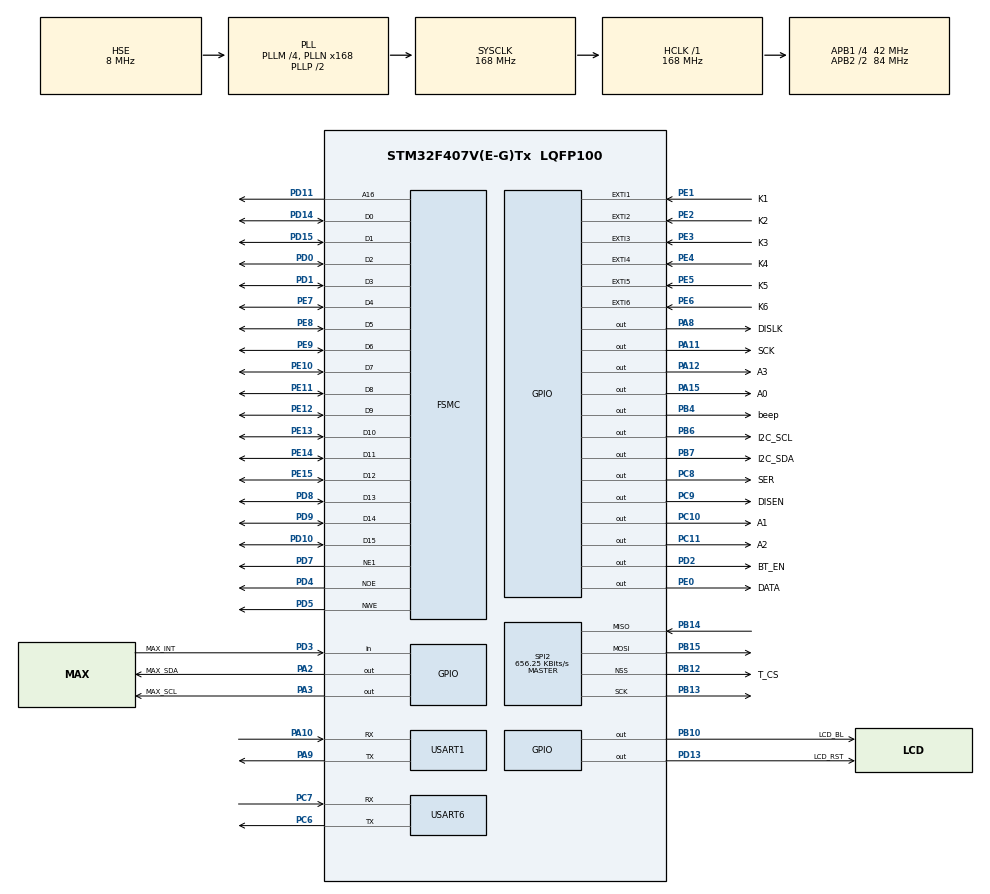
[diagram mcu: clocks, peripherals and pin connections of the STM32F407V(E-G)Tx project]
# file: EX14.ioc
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Dma.Request0=USART6_RX
Dma.Request1=USART6_TX
Dma.USART6_RX.0.Direction=DMA_PERIPH_TO_MEMORY
Dma.USART6_RX.0.FIFOMode=DMA_FIFOMODE_DISABLE
Dma.USART6_RX.0.Instance=DMA2_Stream1
Dma.USART6_RX.0.MemDataAlignment=DMA_MDATAALIGN_BYTE
Dma.USART6_RX.0.MemInc=DMA_MINC_ENABLE
Dma.USART6_RX.0.Mode=DMA_NORMAL
Dma.USART6_RX.0.PeriphDataAlignment=DMA_PDATAALIGN_BYTE
Dma.USART6_RX.0.PeriphInc=DMA_PINC_DISABLE
Dma.USART6_RX.0.Priority=DMA_PRIORITY_LOW
Dma.USART6_TX.1.Direction=DMA_MEMORY_TO_PERIPH
Dma.USART6_TX.1.FIFOMode=DMA_FIFOMODE_DISABLE
Dma.USART6_TX.1.Instance=DMA2_Stream6
Dma.USART6_TX.1.MemDataAlignment=DMA_MDATAALIGN_BYTE
Dma.USART6_TX.1.MemInc=DMA_MINC_ENABLE
Dma.USART6_TX.1.Mode=DMA_NORMAL
Dma.USART6_TX.1.PeriphDataAlignment=DMA_PDATAALIGN_BYTE
Dma.USART6_TX.1.PeriphInc=DMA_PINC_DISABLE
Dma.USART6_TX.1.Priority=DMA_PRIORITY_LOW
FREERTOS.Queues01=QueueUart1,8,512,1,Dynamic,NULL,NULL;QueueUart2,8,512,1,Dynamic,NULL,NULL
FREERTOS.Tasks01=TaskRTC,24,256,StartTaskRTC,Default,NULL,Dynamic,NULL,NULL;myTaskKey,24,256,StartTaskKey,Default,NULL,Dynamic,NULL,NULL;myTaskGUI,8,1024,StartTaskGUI,Default,NULL,Dynamic,NULL,NULL;defaultTask,8,512,StartdefaultTask,Default,NULL,Dynamic,NULL,NULL;myTaskUart,8,512,StartTaskUart,Default,NULL,Dynamic,NULL,NULL;myTaskWea,8,256,StartTaskWea,Default,NULL,Dynamic,NULL,NULL
FREERTOS.configTOTAL_HEAP_SIZE=32768
FSMC.AddressSetupTime1=2
FSMC.BusTurnAroundDuration1=2
FSMC.DataSetupTime1=2
Mcu.Family=STM32F4
Mcu.Name=STM32F407V(E-G)Tx
Mcu.Package=LQFP100
NVIC.DMA2_Stream1_IRQn=true\:5\:0\:false\:false\:true\:true\:false\:true\:true
NVIC.DMA2_Stream6_IRQn=true\:5\:0\:false\:false\:true\:true\:false\:true\:true
NVIC.EXTI1_IRQn=true\:5\:0\:false\:false\:true\:true\:true\:true\:true
NVIC.EXTI2_IRQn=true\:5\:0\:false\:false\:true\:true\:true\:true\:true
NVIC.EXTI3_IRQn=true\:5\:0\:false\:false\:true\:true\:true\:true\:true
NVIC.EXTI4_IRQn=true\:5\:0\:false\:false\:true\:true\:true\:true\:true
NVIC.EXTI9_5_IRQn=true\:5\:0\:false\:false\:true\:true\:true\:true\:true
NVIC.PriorityGroup=NVIC_PRIORITYGROUP_4
NVIC.RTC_Alarm_IRQn=true\:5\:0\:false\:false\:true\:true\:true\:true\:true
NVIC.RTC_WKUP_IRQn=true\:5\:0\:false\:false\:true\:true\:true\:true\:true
NVIC.TIM4_IRQn=true\:5\:0\:false\:false\:true\:true\:true\:true\:true
NVIC.TIM7_IRQn=true\:15\:0\:false\:false\:true\:false\:false\:true\:true
NVIC.TimeBase=TIM7_IRQn
NVIC.TimeBaseIP=TIM7
NVIC.USART6_IRQn=true\:5\:0\:false\:false\:true\:true\:true\:true\:true
PA10.Mode=Asynchronous
PA10.Signal=USART1_RX
PA11.GPIO_Label=SCK
PA11.Signal=GPIO_Output
PA12.GPIO_Label=A3
PA12.Signal=GPIO_Output
PA13.Mode=Serial_Wire
PA13.Signal=SYS_JTMS-SWDIO
PA14.Mode=Serial_Wire
PA14.Signal=SYS_JTCK-SWCLK
PA15.GPIO_Label=A0
PA15.Signal=GPIO_Output
PA2.GPIO_Label=MAX_SDA
PA2.Signal=GPIO_Output
PA3.GPIO_Label=MAX_SCL
PA3.Signal=GPIO_Output
PA8.GPIO_Label=DISLK
PA8.Signal=GPIO_Output
PA9.Mode=Asynchronous
PA9.Signal=USART1_TX
PB10.GPIO_Label=LCD_BL
PB10.Signal=GPIO_Output
PB12.GPIO_Label=T_CS
PB12.Mode=NSS_Signal_Hard_Output
PB12.Signal=SPI2_NSS
PB13.Mode=Full_Duplex_Master
PB13.Signal=SPI2_SCK
PB14.Mode=Full_Duplex_Master
PB14.Signal=SPI2_MISO
PB15.Mode=Full_Duplex_Master
PB15.Signal=SPI2_MOSI
PB4.GPIO_Label=beep
PB4.GPIO_ModeDefaultOutputPP=GPIO_MODE_OUTPUT_PP
PB4.GPIO_PuPd=GPIO_NOPULL
PB4.GPIO_Speed=GPIO_SPEED_FREQ_LOW
PB4.PinState=GPIO_PIN_SET
PB4.Signal=GPIO_Output
PB6.GPIO_Label=I2C_SCL
PB6.GPIO_ModeDefaultOutputPP=GPIO_MODE_OUTPUT_OD
PB6.Signal=GPIO_Output
PB7.GPIO_Label=I2C_SDA
PB7.GPIO_ModeDefaultOutputPP=GPIO_MODE_OUTPUT_OD
PB7.Signal=GPIO_Output
PC10.GPIO_Label=A1
PC10.Signal=GPIO_Output
PC11.GPIO_Label=A2
PC11.Signal=GPIO_Output
PC14-OSC32_IN.Mode=LSE-External-Oscillator
PC14-OSC32_IN.Signal=RCC_OSC32_IN
PC15-OSC32_OUT.Mode=LSE-External-Oscillator
PC15-OSC32_OUT.Signal=RCC_OSC32_OUT
PC6.Mode=Asynchronous
PC6.Signal=USART6_TX
PC7.Mode=Asynchronous
PC7.Signal=USART6_RX
PC8.GPIO_Label=SER
PC8.Signal=GPIO_Output
PC9.GPIO_Label=DISEN
PC9.Signal=GPIO_Output
PD0.Mode=16b-d1
PD0.Signal=FSMC_D2
PD1.Mode=16b-d1
PD1.Signal=FSMC_D3
PD10.Mode=16b-d1
PD10.Signal=FSMC_D15
PD11.Mode=A16_1
PD11.Signal=FSMC_A16
PD13.GPIO_Label=LCD_RST
PD13.Signal=GPIO_Output
PD14.Mode=16b-d1
PD14.Signal=FSMC_D0
PD15.Mode=16b-d1
PD15.Signal=FSMC_D1
PD2.GPIO_Label=BT_EN
PD2.Signal=GPIO_Output
PD3.GPIO_Label=MAX_INT
PD3.Signal=GPIO_Input
PD4.Mode=Lcd1
PD4.Signal=FSMC_NOE
PD5.Mode=Lcd1
PD5.Signal=FSMC_NWE
PD7.Mode=NorPsramChipSelect1_1
PD7.Signal=FSMC_NE1
PD8.Mode=16b-d1
PD8.Signal=FSMC_D13
PD9.Mode=16b-d1
PD9.Signal=FSMC_D14
PE0.GPIO_Label=DATA
PE0.Signal=GPIO_Output
PE1.GPIO_Label=K1
PE1.GPIO_ModeDefaultEXTI=GPIO_MODE_IT_FALLING
PE1.GPIO_PuPd=GPIO_PULLUP
PE1.Signal=GPXTI1
PE10.Mode=16b-d1
PE10.Signal=FSMC_D7
PE11.Mode=16b-d1
PE11.Signal=FSMC_D8
PE12.Mode=16b-d1
PE12.Signal=FSMC_D9
PE13.Mode=16b-d1
PE13.Signal=FSMC_D10
PE14.Mode=16b-d1
PE14.Signal=FSMC_D11
PE15.Mode=16b-d1
PE15.Signal=FSMC_D12
PE2.GPIO_Label=K2
PE2.GPIO_ModeDefaultEXTI=GPIO_MODE_IT_FALLING
PE2.GPIO_PuPd=GPIO_PULLUP
PE2.Signal=GPXTI2
PE3.GPIO_Label=K3
PE3.GPIO_ModeDefaultEXTI=GPIO_MODE_IT_FALLING
PE3.GPIO_PuPd=GPIO_PULLUP
PE3.Signal=GPXTI3
PE4.GPIO_Label=K4
PE4.GPIO_ModeDefaultEXTI=GPIO_MODE_IT_FALLING
PE4.GPIO_PuPd=GPIO_PULLUP
PE4.Signal=GPXTI4
PE5.GPIO_Label=K5
PE5.GPIO_ModeDefaultEXTI=GPIO_MODE_IT_FALLING
PE5.GPIO_PuPd=GPIO_PULLDOWN
PE5.Signal=GPXTI5
PE6.GPIO_Label=K6
PE6.GPIO_ModeDefaultEXTI=GPIO_MODE_IT_FALLING
PE6.GPIO_PuPd=GPIO_PULLDOWN
PE6.Signal=GPXTI6
PE7.Mode=16b-d1
PE7.Signal=FSMC_D4
PE8.Mode=16b-d1
PE8.Signal=FSMC_D5
PE9.Mode=16b-d1
PE9.Signal=FSMC_D6
PH0-OSC_IN.Mode=HSE-External-Oscillator
PH0-OSC_IN.Signal=RCC_OSC_IN
PH1-OSC_OUT.Mode=HSE-External-Oscillator
PH1-OSC_OUT.Signal=RCC_OSC_OUT
ProjectManager.HeapSize=0x2000
ProjectManager.StackSize=0x4000
ProjectManager.TargetToolchain=MDK-ARM V5.32
RCC.48MHZClocksFreq_Value=84000000
RCC.AHBFreq_Value=168000000
RCC.APB1CLKDivider=RCC_HCLK_DIV4
RCC.APB1Freq_Value=42000000
RCC.APB1TimFreq_Value=84000000
RCC.APB2CLKDivider=RCC_HCLK_DIV2
RCC.APB2Freq_Value=84000000
RCC.APB2TimFreq_Value=168000000
RCC.CortexFreq_Value=168000000
RCC.HCLKFreq_Value=168000000
RCC.HSE_VALUE=8000000
RCC.HSI_VALUE=16000000
RCC.PLLM=4
RCC.PLLN=168
RCC.PLLSourceVirtual=RCC_PLLSOURCE_HSE
RCC.RCC_RTC_Clock_Source=RCC_RTCCLKSOURCE_LSE
RCC.RCC_RTC_Clock_SourceVirtual=RCC_RTCCLKSOURCE_LSE
RCC.SYSCLKFreq_VALUE=168000000
RCC.SYSCLKSource=RCC_SYSCLKSOURCE_PLLCLK
RCC.VCOOutputFreq_Value=336000000
RTC.Alarm=RTC_ALARM_A
SPI2.BaudRatePrescaler=SPI_BAUDRATEPRESCALER_64
SPI2.CalculateBaudRate=656.25 KBits/s
SPI2.Direction=SPI_DIRECTION_2LINES
SPI2.Mode=SPI_MODE_MASTER
SPI2.VirtualNSS=VM_NSSHARD
SPI2.VirtualType=VM_MASTER
TIM4.AutoReloadPreload=TIM_AUTORELOAD_PRELOAD_ENABLE
TIM4.Period=100-1
TIM4.Prescaler=84-1
USART1.VirtualMode=VM_ASYNC
USART6.VirtualMode=VM_ASYNC
VP_CRC_VS_CRC.Mode=CRC_Activate
VP_FREERTOS_VS_CMSIS_V2.Mode=CMSIS_V2
VP_RTC_VS_RTC_Activate.Mode=RTC_Enabled
VP_RTC_VS_RTC_Alarm_A_Intern.Mode=Alarm A
VP_RTC_VS_RTC_Calendar.Mode=RTC_Calendar
VP_RTC_VS_RTC_WakeUp_intern.Mode=WakeUp
VP_SYS_VS_tim7.Mode=TIM7
VP_TIM4_VS_ClockSourceINT.Mode=Internal
board=custom

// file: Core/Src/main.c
/* USER CODE BEGIN Header */
/**
  ******************************************************************************
  * @file           : main.c
  * @brief          : Main program body
  ******************************************************************************
  * @attention
  *
  * <h2><center>&copy; Copyright (c) 2021 STMicroelectronics.
  * All rights reserved.</center></h2>
  *
  * This software component is licensed by ST under BSD 3-Clause license,
  * the "License"; You may not use this file except in compliance with the
  * License. You may obtain a copy of the License at:
  *                        opensource.org/licenses/BSD-3-Clause
  *
  ******************************************************************************
  */
/* USER CODE END Header */
#include "main.h"
#include "cmsis_os.h"
#include "crc.h"
#include "dma.h"
#include "rtc.h"
#include "spi.h"
#include "tim.h"
#include "usart.h"
#include "gpio.h"
#include "fsmc.h"

/* USER CODE BEGIN PV */
extern uint32_t g_beeptick;
/* USER CODE END PV */

void SystemClock_Config(void);
void MX_FREERTOS_Init(void);

int main(void)
{

  /* MCU Configuration--------------------------------------------------------*/

  /* Reset of all peripherals, Initializes the Flash interface and the Systick. */
  HAL_Init();

  /* Configure the system clock */
  SystemClock_Config();

  /* Initialize all configured peripherals */
  MX_GPIO_Init();
  MX_TIM4_Init();
  MX_RTC_Init();
  MX_CRC_Init();
  MX_FSMC_Init();
  MX_SPI2_Init();
  MX_DMA_Init();
  MX_USART1_UART_Init();
  MX_USART6_UART_Init();

  /* Init scheduler */
  osKernelInitialize();  /* Call init function for freertos objects (in freertos.c) */
  MX_FREERTOS_Init();

  /* Start scheduler */
  osKernelStart();

  /* We should never get here as control is now taken by the scheduler */
  /* Infinite loop */
  while (1)
  {

  }
}

void SystemClock_Config(void)
{
  RCC_OscInitTypeDef RCC_OscInitStruct = {0};
  RCC_ClkInitTypeDef RCC_ClkInitStruct = {0};

  /** Configure the main internal regulator output voltage
  */
  __HAL_RCC_PWR_CLK_ENABLE();
  __HAL_PWR_VOLTAGESCALING_CONFIG(PWR_REGULATOR_VOLTAGE_SCALE1);

  /** Initializes the RCC Oscillators according to the specified parameters
  * in the RCC_OscInitTypeDef structure.
  */
  RCC_OscInitStruct.OscillatorType = RCC_OSCILLATORTYPE_HSE|RCC_OSCILLATORTYPE_LSE;
  RCC_OscInitStruct.HSEState = RCC_HSE_ON;
  RCC_OscInitStruct.LSEState = RCC_LSE_ON;
  RCC_OscInitStruct.PLL.PLLState = RCC_PLL_ON;
  RCC_OscInitStruct.PLL.PLLSource = RCC_PLLSOURCE_HSE;
  RCC_OscInitStruct.PLL.PLLM = 4;
  RCC_OscInitStruct.PLL.PLLN = 168;
  RCC_OscInitStruct.PLL.PLLP = RCC_PLLP_DIV2;
  RCC_OscInitStruct.PLL.PLLQ = 4;
  if (HAL_RCC_OscConfig(&RCC_OscInitStruct) != HAL_OK)
  {
    Error_Handler();
  }

  /** Initializes the CPU, AHB and APB buses clocks
  */
  RCC_ClkInitStruct.ClockType = RCC_CLOCKTYPE_HCLK|RCC_CLOCKTYPE_SYSCLK
                              |RCC_CLOCKTYPE_PCLK1|RCC_CLOCKTYPE_PCLK2;
  RCC_ClkInitStruct.SYSCLKSource = RCC_SYSCLKSOURCE_PLLCLK;
  RCC_ClkInitStruct.AHBCLKDivider = RCC_SYSCLK_DIV1;
  RCC_ClkInitStruct.APB1CLKDivider = RCC_HCLK_DIV4;
  RCC_ClkInitStruct.APB2CLKDivider = RCC_HCLK_DIV2;

  if (HAL_RCC_ClockConfig(&RCC_ClkInitStruct, FLASH_LATENCY_5) != HAL_OK)
  {
    Error_Handler();
  }
}

void HAL_TIM_PeriodElapsedCallback(TIM_HandleTypeDef *htim)
{
  if (htim->Instance == TIM7) {
    HAL_IncTick();
  }
  /* USER CODE BEGIN Callback 1 */
  if (htim->Instance == TIM4) {
		if(osKernelGetTickCount() <= g_beeptick)
			HAL_GPIO_TogglePin(beep_GPIO_Port,beep_Pin);
		else
			HAL_GPIO_WritePin(beep_GPIO_Port,beep_Pin,GPIO_PIN_RESET);
  }
  /* USER CODE END Callback 1 */
}

void Error_Handler(void)
{
  __disable_irq();
  while (1)
  {
  }
}

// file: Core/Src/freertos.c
/* USER CODE BEGIN Header */
/**
  ******************************************************************************
  * File Name          : freertos.c
  * Description        : Code for freertos applications
  ******************************************************************************
  * @attention
  *
  * <h2><center>&copy; Copyright (c) 2021 STMicroelectronics.
  * All rights reserved.</center></h2>
  *
  * This software component is licensed by ST under Ultimate Liberty license
  * SLA0044, the "License"; You may not use this file except in compliance with
  * the License. You may obtain a copy of the License at:
  *                             www.st.com/SLA0044
  *
  ******************************************************************************
  */
/* USER CODE END Header */

#include "FreeRTOS.h"
#include "task.h"
#include "main.h"
#include "cmsis_os.h"

/* USER CODE BEGIN Includes */
#include "gpio.h"
#include "usart.h"
#include <ctype.h>
#include "tim.h"
#include "rtc.h"
#include "GUI.h"
#include <stdio.h>
#include <stdlib.h>
#include <string.h>
#include "lcd_drv.h"
#include "touch.h"
#include "DIALOG.h"
#include "MPU6050.h"
#include "math.h"
#include "DS18B20.h"
#include "max30102.h"
/* USER CODE END Includes */

/* USER CODE BEGIN PD */
#define WIFI_NAME  "28-517"
#define WIFI_PSW   "shanxianglu123..!!"
#define GUI_CLOCK  1  //时钟显示界面
#define GUI_SHOW   2  //血氧心率显示界面
#define GUI_DATA   3  //数据同步界面
#define UP         1  //按键上键
#define DOWN       4  //按键下键
#define LEFT 	   2  //按键左键
#define RIGHT 	   3  //按键右键
#define SWITCH	   5  //按键切换键
#define FUNC 	   6  //按键功能键
/* USER CODE END PD */

/* USER CODE BEGIN Variables */

uint8_t rx1_buf[512];	// 串口1接收缓冲
uint8_t rx6_buf[512];	// 串口6接收缓冲
uint8_t weather=0;         // 0白天晴  1晚上晴 4多云 5白天晴间多云 6晚上晴间多云 7白天大部分多云 8晚上大部分多云
                           // 9阴 10阵雨  11雷阵雨 12雷阵雨伴有冰雹 13小雨 14中雨 15大雨 16暴雨 17大暴雨 18特大暴雨
													 // 19冻雨 20雨夹雪 21阵雪 22小雪 23中雪 24大雪 25暴雪 26浮尘 27扬沙 28沙尘暴 29强沙尘暴
													 // 30雾 31霾 32风 33大风 34飓风 35热带风暴 36龙卷风 37冷 38热 99未知
uint8_t temp_high = 0;
uint8_t temp_low = 0;

int cid = -1;			// 客户端ID号

uint32_t g_beeptick=0;
uint8_t wea_flag=0;
uint8_t tmp_flag=0;
uint8_t g_bset=0;
uint8_t g_bset_old=0;
uint8_t g_bsay=0;
uint8_t gui_idx=0;
uint8_t gui_idx_old=0;
uint8_t alarm_sec=0;
uint8_t alarm_min=0;
uint8_t alarm_hour=0;
uint8_t set_alarm=0;
uint8_t alarm_flag=0;
uint8_t weathernum=0;
uint8_t temperature=0;
uint8_t day=5;
uint8_t stop_flag=0;
uint32_t times=0;
uint8_t beep_flag=0;
uint8_t time_flag=0;
uint8_t first_connect=0;
uint16_t real_year = 0, real_month = 0, real_day = 0, real_hour = 0, real_minute = 0, real_second = 0;
uint16_t old_year = 0, old_mon = 0, old_day = 0, old_hour = 0, old_min = 0, old_sec = 0;
float real_temp = 0; //当前温度
float last_temp = 0; //上一次温度

//extern const GUI_FONT GUI_FontHZ_KaiTi_24;
extern const GUI_FONT GUI_FontHZ_KaiTi_24AA4;
extern GUI_CONST_STORAGE GUI_BITMAP bmhdulogo;
extern GUI_CONST_STORAGE GUI_BITMAP bmqingtian;    //0-3晴天
extern GUI_CONST_STORAGE GUI_BITMAP bmduoyun;      //4-8 多云
extern GUI_CONST_STORAGE GUI_BITMAP bmyintian;     //9阴天
extern GUI_CONST_STORAGE GUI_BITMAP bmzhenyu;      //10-12阵雨
extern GUI_CONST_STORAGE GUI_BITMAP bmyu;          //13-19雨
extern GUI_CONST_STORAGE GUI_BITMAP bmxue;         //20-25雪
extern GUI_CONST_STORAGE GUI_BITMAP bmwumai;       //30 31雾霾
extern GUI_CONST_STORAGE GUI_BITMAP bmweizhi;      // 未知
extern GUI_CONST_STORAGE GUI_BITMAP bmbk1; //背景
extern GUI_CONST_STORAGE GUI_BITMAP bmnaoling;
extern GUI_CONST_STORAGE GUI_BITMAP bmsmoke;
/* USER CODE END Variables */
/* Definitions for TaskRTC */
osThreadId_t TaskRTCHandle;
const osThreadAttr_t TaskRTC_attributes = {
  .name = "TaskRTC",
  .stack_size = 256 * 4,
  .priority = (osPriority_t) osPriorityNormal,
};
/* Definitions for myTaskKey */
osThreadId_t myTaskKeyHandle;
const osThreadAttr_t myTaskKey_attributes = {
  .name = "myTaskKey",
  .stack_size = 256 * 4,
  .priority = (osPriority_t) osPriorityNormal,
};
/* Definitions for myTaskGUI */
osThreadId_t myTaskGUIHandle;
const osThreadAttr_t myTaskGUI_attributes = {
  .name = "myTaskGUI",
  .stack_size = 1024 * 4,
  .priority = (osPriority_t) osPriorityLow,
};
/* Definitions for defaultTask */
osThreadId_t defaultTaskHandle;
const osThreadAttr_t defaultTask_attributes = {
  .name = "defaultTask",
  .stack_size = 512 * 4,
  .priority = (osPriority_t) osPriorityLow,
};
/* Definitions for myTaskUart */
osThreadId_t myTaskUartHandle;
const osThreadAttr_t myTaskUart_attributes = {
  .name = "myTaskUart",
  .stack_size = 512 * 4,
  .priority = (osPriority_t) osPriorityLow,
};
/* Definitions for myTaskWea */
osThreadId_t myTaskWeaHandle;
const osThreadAttr_t myTaskWea_attributes = {
  .name = "myTaskWea",
  .stack_size = 256 * 4,
  .priority = (osPriority_t) osPriorityLow,
};
/* Definitions for QueueUart1 */
osMessageQueueId_t QueueUart1Handle;
const osMessageQueueAttr_t QueueUart1_attributes = {
  .name = "QueueUart1"
};
/* Definitions for QueueUart2 */
osMessageQueueId_t QueueUart2Handle;
const osMessageQueueAttr_t QueueUart2_attributes = {
  .name = "QueueUart2"
};

/* USER CODE BEGIN FunctionPrototypes */
void Beep(uint8_t tune);
void SystemClock_Config(void);
void AnalyseWeather(void);
void EnterSleepMode(void);
void EnterStopMode(void);
void WeatherDisplay(void);
void pause(void);
void GetWeekDay(void);
uint8_t CheckIfLeapYear(uint16_t year);
void ShowWeekByCN(char *buf, uint8_t day);
void DrawLogo(void);
void DrawClock(void);
void DrawShow(void);
void DrawData(void);
void KeyDownClock(uint8_t key);
void KeyDownShow(uint8_t key);
void KeyDownData(uint8_t key);
void AnalyseTime(void);

void SendATCmd(char *cmd, int waitms)   // 发送AT指令给串口6
{
	if (NULL!=cmd)
	{
		HAL_UART_Transmit_DMA(&huart6,(uint8_t *)cmd,strlen(cmd));
		osDelay(waitms);  // 延时等待ESP01模块应答时间
	}
}

void SendESP01Str(char *str)     // 发送字符串给串口6
{
	if (NULL!=str)
		HAL_UART_Transmit_DMA(&huart6,(uint8_t *)str,strlen(str));
}
uint32_t HexStrToNum(char *str,int nLen)
{
	uint32_t num=0;
	int i;
	for(i=0;i<nLen;++i)
	{
		char ch=str[i];
		uint32_t ts=toupper(ch)-'0';
		if(ts>9)
			ts-=7;
		if(ts<=15)
			num=num*16+ts;
		else
			break;
	}
	return num;
}
/* USER CODE END FunctionPrototypes */

void StartTaskRTC(void *argument);
void StartTaskKey(void *argument);
void StartTaskGUI(void *argument);
void StartdefaultTask(void *argument);
void StartTaskUart(void *argument);
void StartTaskWea(void *argument);

void MX_FREERTOS_Init(void); /* (MISRA C 2004 rule 8.1) */

void MX_FREERTOS_Init(void) {

  /* Create the queue(s) */
  /* creation of QueueUart1 */
  QueueUart1Handle = osMessageQueueNew (8, 512, &QueueUart1_attributes);

  /* creation of QueueUart2 */
  QueueUart2Handle = osMessageQueueNew (8, 512, &QueueUart2_attributes);

  /* Create the thread(s) */
  /* creation of TaskRTC */
  TaskRTCHandle = osThreadNew(StartTaskRTC, NULL, &TaskRTC_attributes);

  /* creation of myTaskKey */
  myTaskKeyHandle = osThreadNew(StartTaskKey, NULL, &myTaskKey_attributes);

  /* creation of myTaskGUI */
  myTaskGUIHandle = osThreadNew(StartTaskGUI, NULL, &myTaskGUI_attributes);

  /* creation of defaultTask */
  defaultTaskHandle = osThreadNew(StartdefaultTask, NULL, &defaultTask_attributes);

  /* creation of myTaskUart */
  myTaskUartHandle = osThreadNew(StartTaskUart, NULL, &myTaskUart_attributes);

  /* creation of myTaskWea */
  myTaskWeaHandle = osThreadNew(StartTaskWea, NULL, &myTaskWea_attributes);

}

void StartTaskRTC(void *argument)
{
  /* USER CODE BEGIN StartTaskRTC */
  /* Infinite loop */

	for(;;)
	{

		if (!g_bset && (time_flag == 0 || time_flag == 2))
		ReadRTCDateTime();
		osDelay(500);
	}
  /* USER CODE END StartTaskRTC */
}

void StartTaskKey(void *argument)
{
  /* USER CODE BEGIN StartTaskKey */
  /* Infinite loop */
	for(;;)
	{
		uint8_t key = keyscan();
		if (key > 0)
		{
			while (keyscan())
			osDelay(1);
			switch(gui_idx)
			{
				case GUI_CLOCK:
					//时钟显示界面
					KeyDownClock(key);
					break;
				case GUI_SHOW:
					//血氧心率显示界面
					KeyDownShow(key);
					break;
				case GUI_DATA:
					//数据同步界面
					KeyDownData(key);
					break;
				default:
					//Logo显示
					break;
			}
		}
		osDelay(1);
	}
  /* USER CODE END StartTaskKey */
}

void StartTaskGUI(void *argument)
{
  /* USER CODE BEGIN StartTaskGUI */
  /* Infinite loop */
	osDelay(100);
	GUI_Init();
	ds18b20_init();
	for(;;)
	{
		GUI_Exec();
		TouchProcess();

		if (time_flag == 1)
		{
			SetRTCDate(real_year, real_month, real_day);
			SetRTCTime(real_hour, real_minute, real_second);
			printf("change!!!\n");

			time_flag = 2;
		}
		//获取星期几
		GetWeekDay();
		switch(gui_idx)
		{
			case GUI_CLOCK:
				//时钟显示界面
				DrawClock();
				break;
			case GUI_SHOW:
				//血氧心率显示界面
				DrawShow();
				break;
			case GUI_DATA:
				//数据同步界面
				DrawData();
				break;
			default:
				//Logo显示
				DrawLogo();
				break;
		}
		osDelay(100);
	}
  /* USER CODE END StartTaskGUI */
}

void StartdefaultTask(void *argument)
{
  /* USER CODE BEGIN StartdefaultTask */
  /* Infinite loop */
	osDelay(500);
	Beep(5);
	osDelay(200);
	SendATCmd("+++", 500);				// 退出透传模式
	SendATCmd("AT\r\n", 500);			// 测试ESP01模块是否存在
	SendATCmd("ATE0\r\n", 500);			// 关闭模块回显
	SendATCmd("AT+GMR\r\n", 500);		// 查看模块版本信息
	SendATCmd("AT+CWMODE=3\r\n", 500);	// 开启STA+AP模式
	SendATCmd("AT+CIPMUX=0\r\n", 500);	// 关闭多连接

	char str[200];
	char weather_web[] = "GET https://api.seniverse.com/v3/weather/daily.json?key=SU8mkZy6Bwvor3FMJ&location=hangzhou&language=en&unit=c&start=0&days=1\r\n";
	char time_web[] = "GET http://quan.suning.com/getSysTime.do\r\n";
	sprintf(str, "AT+CWJAP=\"%s\",\"%s\"\r\n", WIFI_NAME, WIFI_PSW);
	SendATCmd(str, 10000);	// 连接无线路由器或者手机热点，等待10秒
	// 连接时间服务器
	SendATCmd("AT+CIPSTART=\"TCP\",\"quan.suning.com\",80\r\n", 2000);
	SendATCmd("AT+CIPMODE=1\r\n", 500);	// 开启透传模式
	SendATCmd("AT+CIPSEND\r\n", 500);	// 开始透传
	SendATCmd(time_web, 3000);
	SendATCmd("+++", 500);				// 退出透传模式

	SendATCmd("AT+RST", 500);
	SendATCmd("AT\r\n", 500);			// 测试ESP01模块是否存在
	SendATCmd("ATE0\r\n", 500);			// 关闭模块回显
	SendATCmd("AT+GMR\r\n", 500);		// 查看模块版本信息
	SendATCmd("AT+CWMODE=3\r\n", 500);	// 开启STA+AP模式
	SendATCmd("AT+CIPMUX=0\r\n", 500);	// 关闭多连接

	sprintf(str, "AT+CWJAP=\"%s\",\"%s\"\r\n", WIFI_NAME, WIFI_PSW);
	SendATCmd(str, 10000);	// 连接无线路由器或者手机热点，等待10秒

	for(;;)
	{
		if (wea_flag != 3)
		{
			if (first_connect == 0)
			{
				// 连接OneNET的HTTP服务器
				SendATCmd("AT+CIPSTART=\"TCP\",\"116.62.81.138\",80\r\n", 2000);
				printf("connet weather server!!");
				SendATCmd("AT+CIPMODE=1\r\n", 500);	// 开启透传模式
				SendATCmd("AT+CIPSEND\r\n", 500);	// 开始透传
				first_connect = 1;
			}
			SendESP01Str(weather_web);
		}

//		printf("send");
		osDelay(200);
	}

  /* USER CODE END StartdefaultTask */
}

void StartTaskUart(void *argument)
{
  /* USER CODE BEGIN StartTaskUart */
  /* Infinite loop */
  HAL_UARTEx_ReceiveToIdle_DMA(&huart1, rx1_buf, sizeof(rx1_buf));
  HAL_UARTEx_ReceiveToIdle_DMA(&huart6, rx6_buf, sizeof(rx6_buf));

	uint8_t i;
  uint8_t dat[512];  // 临时数组
  for(;;) {

	// 串口1接收数据处理
	if (osMessageQueueGet(QueueUart1Handle, dat, NULL, 10) == osOK) {
		printf("UART1: %s", dat);  // 串口1打印回显
      HAL_UART_Transmit_DMA(&huart6, dat, strlen((char *)dat));	// 转发串口6
		}

		// 串口6接收数据处理
	   	if (osMessageQueueGet(QueueUart2Handle, dat, NULL, 10) == osOK) {
			printf("UART6: %s", dat);	// 串口1打印显示
		 if((rx6_buf[0] == '{' && rx6_buf[2] == 'r') || (rx6_buf[0] == '{' && rx6_buf[2] == 's'))
		 {

				for(i = 0; i < 200; i++)
				{
					printf("%d",rx6_buf[i]);
				}

				//AnalyseWeather();
		 }

			char *str = (char *)dat;
			if (strstr(str, "CONNECT") > str) // 如果有客户端连接进来，取ID号
				cid = atoi(str);
			if (strstr(str, "CLOSED") > str)  // 如果有客户端连接断开，关闭ID号
				cid = -1;
		}

	   osDelay(100);
  }
  /* USER CODE END StartTaskUart */
}

void StartTaskWea(void *argument)
{
  /* USER CODE BEGIN StartTaskWea */
  /* Infinite loop */
	max30102_init();
	for(;;)
	{
		max30102ReadCalc();
		if(rx6_buf[0] == '{' && rx6_buf[2] == 'r')
		{

			//printf("\nweather = %d\n",weather);
			if (wea_flag != 3)
				AnalyseWeather();
		}
		if(rx6_buf[0] == '{' && rx6_buf[2] == 's')
		{
			if (time_flag == 0)
				AnalyseTime();
		}
		osDelay(10);
	}
  /* USER CODE END StartTaskWea */
}

/* USER CODE BEGIN Application */
void Beep(uint8_t tune)
{
	const float tab_freq[] = {
		0,261.632f,293.672f,329.636f, 349.237f, 392.005f, 440.010f, 493.895f
	};
	if(tune>0 && tune <= 21)
	{
		int key = (tune-1) / 7;
		while(tune > 7)
			tune -= 7;
		uint16_t arr = (uint16_t)((1000000.0f / tab_freq[tune]) / 2) - 1;
		if(1 == key)
			arr /= 2;
		else if(2 == key)
			arr /= 4;
		HAL_TIM_Base_Start_IT(&htim4);
		__HAL_TIM_SET_AUTORELOAD(&htim4, arr);
		g_beeptick = osKernelGetTickCount() + 100;
	}
	else
	{
		HAL_TIM_Base_Stop_IT(&htim4);
		g_beeptick = 0;
	}
}

void HAL_UARTEx_RxEventCallback(UART_HandleTypeDef *huart, uint16_t Size){
	if (huart == &huart1) { // 串口1接收数据处理
	  HAL_UART_DMAStop(huart);  // 停止DMA请求
	  rx1_buf[Size] = '\0';      // 末尾加字符串结束符
	  osMessageQueuePut(QueueUart1Handle, rx1_buf, NULL, 0);  // 发送消息到队列1
	  // 重启串口1的DMA接收
	  __HAL_UNLOCK(huart);
	  HAL_UARTEx_ReceiveToIdle_DMA(&huart1, rx1_buf, sizeof(rx1_buf));
	}
	if (huart == &huart6) { // 串口6接收数据处理
		 HAL_UART_DMAStop(huart);  // 停止DMA请求
		 rx6_buf[Size] = '\0';      // 末尾加字符串结束符
		 osMessageQueuePut(QueueUart2Handle, rx6_buf, NULL, 0); // 发送消息到队列2
		 // 重启串口6的DMA接收
		 __HAL_UNLOCK(huart);
		 HAL_UARTEx_ReceiveToIdle_DMA(&huart6, rx6_buf, sizeof(rx6_buf));
	}
}

void EnterSleepMode(void){
	HAL_RTCEx_SetWakeUpTimer_IT(&hrtc,10,RTC_WAKEUPCLOCK_CK_SPRE_16BITS);
	SysTick->CTRL&=~SysTick_CTRL_ENABLE_Msk;
	HAL_PWR_EnterSLEEPMode(PWR_MAINREGULATOR_ON,PWR_SLEEPENTRY_WFI);
}
void EnterStopMode(void){
	HAL_RTCEx_SetWakeUpTimer_IT(&hrtc,10,RTC_WAKEUPCLOCK_CK_SPRE_16BITS);
	SysTick->CTRL&=~SysTick_CTRL_ENABLE_Msk;
	HAL_PWR_EnterSTOPMode(PWR_MAINREGULATOR_ON,PWR_SLEEPENTRY_WFI);
}
void HAL_GPIO_EXTI_Callback(uint16_t GPIO_Pin){
	SystemClock_Config();
	SysTick->CTRL|=SysTick_CTRL_ENABLE_Msk;
	HAL_RTCEx_DeactivateWakeUpTimer(&hrtc);
	HAL_RTC_DeactivateAlarm(&hrtc,RTC_ALARM_A);
	Lcd_Light_ON
}
void HAL_RTCEx_WakeUpTimerEventCallback(RTC_HandleTypeDef *hrtc){
	SystemClock_Config();
	SysTick->CTRL|=SysTick_CTRL_ENABLE_Msk;
	HAL_RTCEx_DeactivateWakeUpTimer(hrtc);
	Lcd_Light_ON
}
void HAL_RTC_AlarmAEventCallback(RTC_HandleTypeDef *hrtc){
	SystemClock_Config();
	SysTick->CTRL|=SysTick_CTRL_ENABLE_Msk;
	HAL_RTC_DeactivateAlarm(hrtc,RTC_ALARM_A);
	Lcd_Light_ON
}

void AnalyseWeather(void)
{
	uint16_t i;

	for(i = 0; i < 512; i++)
	{

		if(rx6_buf[i] == 'c' && rx6_buf[i+1] == 'o' && rx6_buf[i+2] == 'd' && rx6_buf[i+3] == 'e' && rx6_buf[i+4] == '_' && rx6_buf[i+5] == 'd')
		{
			if (wea_flag == 0 || wea_flag == 2)
			{
				i += 11;
				while(rx6_buf[i] >= '0' && rx6_buf[i] <= '9')
				{
					weather = weather * 10 + (rx6_buf[i] - '0');
//					weather = 1;
					i++;
					if (wea_flag == 0)
						wea_flag = 1;
					if (wea_flag == 2)
						wea_flag = 3;
					if(rx6_buf[i] == '"')
						break;
				}
			}

		}

		if(rx6_buf[i] == 'h' && rx6_buf[i+1] == 'i' && rx6_buf[i+2] == 'g' && rx6_buf[i+3] == 'h')
		{
			if (wea_flag == 0 || wea_flag == 1)
			{
				i += 7;
				while(rx6_buf[i] >= '0' && rx6_buf[i] <= '9')
				{
					temp_high = temp_high * 10 + (rx6_buf[i] - '0');
					i++;
					if(rx6_buf[i] == '"')
						break;
				}
				i += 9;
				while(rx6_buf[i] >= '0' && rx6_buf[i] <= '9')
				{
					temp_low = temp_low * 10 + (rx6_buf[i] - '0');
					i++;
					if (wea_flag == 0)
						wea_flag = 2;
					if (wea_flag == 1)
						wea_flag = 3;
					if(rx6_buf[i] == '"')
						break;
				}
			}
		}
		if (wea_flag == 3) break;
	}

	printf("\nwea_flag = %d\n", wea_flag);
	printf("\nweather = %d\n",weather);
	printf("\ntemperature_high = %d\n",temp_high);
	printf("\ntemperature_low = %d\n",temp_low);
}

void AnalyseTime(void)
{

	uint8_t i, j;
	for (i = 0; i < 255; i++)
	{
		if (rx6_buf[i] == 'T' && rx6_buf[i+1] == 'i' && rx6_buf[i+2] == 'm' && rx6_buf[i+3] == 'e' && rx6_buf[i+4] == '1')
		{
			i += 8;
			for (j = 0; j < 4; j++)
			{
				real_year = real_year * 10 + (rx6_buf[i + j] - '0');
			}
			for (j = 4; j < 6; j++)
			{
				real_month = real_month * 10 + (rx6_buf[i + j] - '0');
			}
			for (j = 6; j < 8; j++)
			{
				real_day = real_day * 10 + (rx6_buf[i + j] - '0');
			}
			for (j = 8; j < 10; j++)
			{
				real_hour = real_hour * 10 + (rx6_buf[i + j] - '0');
			}
			for (j = 10; j < 12; j++)
			{
				real_minute = real_minute * 10 + (rx6_buf[i + j] - '0');
			}
			for (j = 12; j < 14; j++)
			{
				real_second = real_second * 10 + (rx6_buf[i + j] - '0');
			}

			printf("real_year = %d\real_month = %d\real_day = %d\real_hour = %d\real_minute = %d\real_second = %d\n", real_year, real_month, real_day, real_hour, real_minute, real_second);
			time_flag = 1;
		}
	}
}

void WeatherDisplay(void)
{
	if (weather <= 3) //晴天
	{
		if (weathernum != 1)
			GUI_ClearRect(200, 70, 251, 121);
		GUI_DrawBitmap(&bmqingtian, 200, 70);   //天气图片位置  96*96
		weathernum = 1;
	}
	else if (weather >= 4 && weather <= 8 && weathernum != 2) //多云
	{
		GUI_ClearRect(200, 70, 260, 117);
		GUI_DrawBitmap(&bmduoyun, 200, 70);
		weathernum = 2;
	}
	else if (weather == 9) //阴
	{
		if(weathernum != 3)
			GUI_ClearRect(200, 70, 260, 110);
		GUI_DrawBitmap(&bmyintian, 200, 70);
		weathernum = 3;
	}
	else if (weather >= 10 && weather <= 25) //雨
	{
		if(weathernum != 4)
			GUI_ClearRect(200, 70, 256, 124);
		GUI_DrawBitmap(&bmyu, 200, 70);
		weathernum = 4;
	}
	else if (weather >= 30) //雾霾
	{
		if(weathernum != 5)
			GUI_ClearRect(200, 70, 256, 120);
		GUI_DrawBitmap(&bmsmoke, 200, 70);
		weathernum = 5;
	}
	/*else
	{
		if(weathernum != 6)
			GUI_ClearRect(200,50,296,146);
		GUI_DrawBitmap(&bmsmoke,200,50);
		weathernum = 6;
	}*/
}

void pause(void)
{
	Beep(0);
	ReadRTCDateTime();
	GUI_SetBkColor(GUI_CYAN);
	GUI_DrawBitmap(&bmnaoling,220,60);

	if(gx>4500||gy>4500||gz>4500||osKernelGetTickCount()>(times+60000))
	{
		osDelay(900);
		if(gx>4500||gy>4500||gz>4500||osKernelGetTickCount()>(times+60000))
		{
			stop_flag=1;
			beep_flag=0;
		}
	}
	else
	{
		osDelay(50);
	}
	if(osKernelGetTickCount()>(times+60000))
	{
		beep_flag=0;
	}
	GUI_ClearRect(220,60,270,110);
}
uint8_t CheckIfLeapYear(uint16_t year)
{
	if (year % 400 == 0 || (year % 4 ==0 && year % 100 != 0))
		return 1;
	else return 0;

}
void ShowWeekByCN(char *buf, uint8_t day)
{
	switch(day)
	{
		case 1:
			strcat(buf, "一");
			break;
		case 2:
			strcat(buf, "二");
			break;
		case 3:
			strcat(buf, "三");
			break;
		case 4:
			strcat(buf, "四");
			break;
		case 5:
			strcat(buf, "五");
			break;
		case 6:
			strcat(buf, "六");
			break;
		case 7:
			strcat(buf, "日");
			break;
		default:
			break;
	}
}

//计算星期几
void GetWeekDay(void)
{
	uint16_t mon, year;
	if (RTC_Mon == 1|| RTC_Mon == 2)
	{
		year = RTC_Year - 1;
		mon = RTC_Mon + 12;
	}
	else
	{
		year = RTC_Year;
		mon = RTC_Mon;
	}
	//吉姆拉尔森公式算星期几
	day = (RTC_Dat + 2 * mon + 3 * (mon + 1) / 5 + year + year / 4 - year / 100 + year / 400 + 1) % 7;
	if(day==0)
	{
		day=7;
	}
	//day:1-7分别对应星期一到星期日
}

void DrawLogo(void)
{
	//计算中心位置
	uint16_t sw = GUI_GetScreenSizeX();
	uint16_t sh = GUI_GetScreenSizeY();
	GUI_SetBkColor(GUI_LIGHTCYAN);
	GUI_Clear();
	//显示校徽
	GUI_DrawBitmap(&bmhdulogo, 0, 164);
//	osDelay(1000);
//	GUI_Clear();
	//显示课程名、姓名学号等信息
	GUI_SetFont(&GUI_FontHZ_KaiTi_24AA4);
//	GUI_SetBkColor(GUI_GREEN);
//	GUI_Clear();
	GUI_SetColor(GUI_RED);
	GUI_DispStringHCenterAt("电子设计综合实践\n血氧心率测试仪\n陈泽森 20041411\n丁羿然 20071213", sw / 2, sh / 2 - 80);
	osDelay(3000);
	GUI_Clear();
	GUI_SetBkColor(GUI_GREEN);
	GUI_Clear();
	//切换至时钟界面
	gui_idx_old = gui_idx;
	gui_idx = GUI_CLOCK;
}
void DrawClock(void)
{
	char buf[50];
	uint16_t sw = GUI_GetScreenSizeX();
	times = 0;
	real_temp = ds18b20_read();

//	BUTTON_Handle  btnUp=BUTTON_CreateEx(
//	40,190,100,40,0,WM_CF_SHOW,0,'U');
//	BUTTON_SetText(btnUp,"set alarm");

//	BUTTON_Handle  btnDown=BUTTON_CreateEx(
//	180,190,100,40,0,WM_CF_SHOW,0,'D');
//	BUTTON_SetText(btnDown,"weather");

	switch (g_bset) //判断调整的是年月日时分秒中的哪一个
	{
		default:
			//不改动的情况
			GUI_SetBkColor(GUI_YELLOW);
			GUI_SetColor(GUI_DARKBLUE);
			GUI_DispStringHCenterAt("时钟显示", sw / 2, 0);
			GUI_SetBkColor(GUI_GREEN);
			sprintf(buf, "%4d年%2d月%2d日  星期", RTC_Year, RTC_Mon, RTC_Dat);
			ShowWeekByCN(buf, day);
			GUI_DispStringAt(buf, 1, 30);
			sprintf(buf, "%2d时%2d分%2d秒", RTC_Hour, RTC_Min, RTC_Sec);
			GUI_DispStringAt(buf, 1, 60);

			if (real_temp < 50 && real_temp != last_temp)
			{
				sprintf(buf, "温度:%.0f", real_temp);
				last_temp = real_temp;
			}
			else
			{
				sprintf(buf, "温度:%.0f", last_temp);
			}
			GUI_DispStringAt(buf, 1, 90);
			if (wea_flag == 3) //已经接收到天气
			{
				WeatherDisplay();
				switch (weathernum)
				{
					case 1:sprintf(buf, "实时天气:晴天"); GUI_DispStringAt(buf, 1, 120); break;
					case 2:sprintf(buf, "实时天气:多云"); GUI_DispStringAt(buf, 1, 120); break;
					case 3:sprintf(buf, "实时天气:阴天"); GUI_DispStringAt(buf, 1, 120); break;
					case 4:sprintf(buf, "实时天气:阵雨"); GUI_DispStringAt(buf, 1, 120); break;
					case 5:sprintf(buf, "实时天气:雾霾"); GUI_DispStringAt(buf, 1, 120); break;
					default:break;
				}
				sprintf(buf, "最高温度:%d  最低温度:%d", temp_high, temp_low); GUI_DispStringAt(buf, 1, 150);
			}
			break;
		case 1:	//修改年
			if (g_bset_old == 0 || gui_idx_old == 2)
			{
				GUI_Clear();
				GUI_SetBkColor(GUI_CYAN);
				g_bset_old = g_bset;
				gui_idx_old = gui_idx;
				GUI_SetColor(GUI_DARKBLUE);
				GUI_SetBkColor(GUI_YELLOW);
			}
			GUI_DispStringHCenterAt("时钟设置", sw / 2, 0);
			if (osKernelGetTickCount() % 1000 > 800)
			{
				sprintf(buf, "    年%2d月%2d日  星期", RTC_Mon, RTC_Dat);
				ShowWeekByCN(buf, day);
			}
			else
			{
				sprintf(buf, "%4d年%2d月%2d日  星期", RTC_Year, RTC_Mon, RTC_Dat);
				ShowWeekByCN(buf, day);
			}
			GUI_DispStringAt(buf, 1, 30);
			sprintf(buf, "%2d时%2d分%2d秒", RTC_Hour, RTC_Min, RTC_Sec);
			GUI_DispStringAt(buf, 1, 60);
			break;
		case 2: //修改月
			if (g_bset_old == 0 || gui_idx_old == 2)
			{
				GUI_Clear();
				GUI_SetBkColor(GUI_CYAN);
				g_bset_old = g_bset;
				gui_idx_old = gui_idx;
				GUI_SetColor(GUI_DARKBLUE);
				GUI_SetBkColor(GUI_YELLOW);
				GUI_DispStringHCenterAt("时钟设置", sw / 2, 0);
			}
			if (osKernelGetTickCount() % 1000 > 800)
			{
				sprintf(buf, "%4d年  月%2d日  星期", RTC_Year, RTC_Dat);
				ShowWeekByCN(buf, day);
			}
			else
			{
				sprintf(buf, "%4d年%2d月%2d日  星期", RTC_Year, RTC_Mon, RTC_Dat);
				ShowWeekByCN(buf, day);
			}
			GUI_DispStringAt(buf, 1, 30);
			sprintf(buf, "%2d时%2d分%2d秒", RTC_Hour, RTC_Min, RTC_Sec);
			GUI_DispStringAt(buf, 1, 60);
			break;
		case 3: //修改日
			if (g_bset_old == 0 || gui_idx_old == 2)
			{
				GUI_Clear();
				GUI_SetBkColor(GUI_CYAN);
				g_bset_old = g_bset;
				gui_idx_old = gui_idx;
				GUI_SetColor(GUI_DARKBLUE);
				GUI_SetBkColor(GUI_YELLOW);
				GUI_DispStringHCenterAt("时钟设置", sw / 2, 0);
			}
			if (osKernelGetTickCount() % 1000 > 800)
			{
				sprintf(buf, "%4d年%2d月  日  星期", RTC_Year, RTC_Mon);
				ShowWeekByCN(buf, day);
			}
			else
			{
				sprintf(buf, "%4d年%2d月%2d日  星期", RTC_Year, RTC_Mon, RTC_Dat);
				ShowWeekByCN(buf, day);
			}
			GUI_DispStringAt(buf, 1, 30);
			sprintf(buf, "%2d时%2d分%2d秒", RTC_Hour, RTC_Min, RTC_Sec);
			GUI_DispStringAt(buf, 1, 60);
			break;
		case 4: //修改时
			if (g_bset_old == 0 || gui_idx_old == 2)
			{
				GUI_Clear();
				GUI_SetBkColor(GUI_CYAN);
				g_bset_old = g_bset;
				gui_idx_old = gui_idx;
				GUI_SetColor(GUI_DARKBLUE);
				GUI_SetBkColor(GUI_YELLOW);
				GUI_DispStringHCenterAt("时钟设置", sw / 2, 0);
			}
			sprintf(buf, "%4d年%2d月%2d日  星期", RTC_Year, RTC_Mon, RTC_Dat);
			ShowWeekByCN(buf, day);
			GUI_DispStringAt(buf, 1, 30);
			if (osKernelGetTickCount() % 1000 > 800)
			{
			sprintf(buf, "  时%2d分%2d秒", RTC_Min, RTC_Sec);
			}
			else
			{
				sprintf(buf, "%2d时%2d分%2d秒", RTC_Hour, RTC_Min, RTC_Sec);
			}
			GUI_DispStringAt(buf, 1, 60);
			break;
		case 5: //修改分
			if (g_bset_old == 0 || gui_idx_old == 2)
			{
				GUI_Clear();
				GUI_SetBkColor(GUI_CYAN);
				g_bset_old = g_bset;
				gui_idx_old = gui_idx;
				GUI_SetColor(GUI_DARKBLUE);
				GUI_SetBkColor(GUI_YELLOW);
				GUI_DispStringHCenterAt("时钟设置", sw / 2, 0);
			}
			sprintf(buf, "%4d年%2d月%2d日  星期", RTC_Year, RTC_Mon, RTC_Dat);
			ShowWeekByCN(buf, day);
			GUI_DispStringAt(buf, 1, 30);
			if (osKernelGetTickCount() % 1000 > 800)
			{
			sprintf(buf, "%2d时  分%2d秒", RTC_Hour, RTC_Sec);
			}
			else
			{
				sprintf(buf, "%2d时%2d分%2d秒", RTC_Hour, RTC_Min, RTC_Sec);
			}
			GUI_DispStringAt(buf, 1, 60);
			break;
		case 6: //修改秒
			if (g_bset_old == 0 || gui_idx_old == 2)
			{
				GUI_Clear();
				GUI_SetBkColor(GUI_CYAN);
				g_bset_old = g_bset;
				gui_idx_old = gui_idx;
				GUI_SetColor(GUI_DARKBLUE);
				GUI_SetBkColor(GUI_YELLOW);
				GUI_DispStringHCenterAt("时钟设置", sw / 2, 0);
			}
			sprintf(buf, "%4d年%2d月%2d日  星期", RTC_Year, RTC_Mon, RTC_Dat);
			ShowWeekByCN(buf, day);
			GUI_DispStringAt(buf, 1, 30);
			if (osKernelGetTickCount() % 1000 > 800)
			{
			sprintf(buf, "%2d时%2d分  秒", RTC_Hour, RTC_Min);
			}
			else
			{
				sprintf(buf, "%2d时%2d分%2d秒", RTC_Hour, RTC_Min, RTC_Sec);
			}
			GUI_DispStringAt(buf, 1, 60);
			break;
	}
	switch(GUI_GetKey())
	{
		case 'U':gui_idx=1; set_alarm=1; times=0; stop_flag=0; break;
		case 'D':gui_idx=2;
				 GUI_SetBkColor(GUI_CYAN);
				 GUI_ClearRect(0,0,320,30);
				 GUI_SetBkColor(GUI_BROWN);
				 GUI_SetColor(GUI_LIGHTGRAY);
				 GUI_DispStringHCenterAt("天气模式",sw/2,0);
				 GUI_SetBkColor(GUI_CYAN);
				 GUI_ClearRect(0,30,320,180);
				 set_alarm=0;
				 break;
		default:break;
	}

	if (hrAvg > 0 && spo2Avg > 0 && (n_heart_rate < 190) && (n_heart_rate > 40))
	{
		printf("hrAvg:%d spo2Avg:%d n_heart_rate:%d\r\n", hrAvg, spo2Avg, n_heart_rate);
		//切换至血氧心率显示界面
		gui_idx_old = gui_idx;
		gui_idx = GUI_SHOW;
		GUI_SetBkColor(GUI_LIGHTCYAN);
		GUI_Clear();
	}

}
void DrawShow(void)
{
	char buf[50];
	uint16_t sw = GUI_GetScreenSizeX();
//	GUI_SetBkColor(GUI_LIGHTCYAN);
//	GUI_Clear();
	GUI_SetBkColor(GUI_YELLOW);
	GUI_SetColor(GUI_DARKBLUE);
	GUI_DispStringHCenterAt("血氧心率显示界面", sw / 2, 0);
	GUI_SetBkColor(GUI_LIGHTCYAN);

//	max30102ReadCalc();
	if (hrAvg > 0 && spo2Avg > 0 && (n_heart_rate < 190) && (n_heart_rate > 40))
	{
		printf("hrAvg:%d spo2Avg:%d n_heart_rate:%d\r\n", hrAvg, spo2Avg, n_heart_rate);
		sprintf(buf, "hrAvg:%d  ", hrAvg);
		GUI_DispStringAt(buf, 1, 30);
		sprintf(buf, "spo2Avg:%d  ", spo2Avg);
		GUI_DispStringAt(buf, 1, 60);
		sprintf(buf, "n_heart_rate:%d  ",n_heart_rate);
		GUI_DispStringAt(buf, 1, 90);
	}
	else
	{
		sprintf(buf, "hrAvg:   ");
		GUI_DispStringAt(buf, 1, 30);
		sprintf(buf, "spo2Avg:    ");
		GUI_DispStringAt(buf, 1, 60);
		sprintf(buf, "n_heart_rate:   ");
		GUI_DispStringAt(buf, 1, 90);
		printf(". ");
		//切换至时钟界面
		gui_idx_old = gui_idx;
		gui_idx = GUI_CLOCK;
		GUI_SetBkColor(GUI_GREEN);
		GUI_Clear();
	}

    osDelay(1);

//	BUTTON_Handle  btnUp=BUTTON_CreateEx(
//	40,190,100,40,0,WM_CF_SHOW,0,'U');
//	BUTTON_SetText(btnUp,"set alarm");
//
//	BUTTON_Handle  btnDown=BUTTON_CreateEx(
//	180,190,100,40,0,WM_CF_SHOW,0,'D');
//	BUTTON_SetText(btnDown,"weather");

//	GUI_Exec();
//	TouchProcess();
}
void DrawData(void)
{

}

void KeyDownClock(uint8_t key)
{

	switch (key)
	{
		case UP:
			if(g_bset) //在调整时间模式下
			{
				switch(g_bset) //判断调整的是年月日时分秒中的哪一个
				{
					default:
						break;
					case 1:
						++RTC_Year;
						//考虑闰年2月29日特殊情况
						if (RTC_Mon == 2 && CheckIfLeapYear(RTC_Year-1) && RTC_Dat == 29)
							RTC_Dat = 28;
						//获取星期几
						GetWeekDay();
						break;
					case 2:
						if (RTC_Mon < 12) ++RTC_Mon;
						else RTC_Mon = 1;
						//考虑1月29、30、31日的特殊情况
						if (RTC_Mon == 2 && (RTC_Dat == 31 || RTC_Dat == 30 || RTC_Dat == 29))
						{
							if (CheckIfLeapYear(RTC_Year)) RTC_Dat = 29;
							else RTC_Dat = 28;
						}
						//考虑3、5、8、10月31日的特殊情况
						if (RTC_Mon == 4 || RTC_Mon == 6 || RTC_Mon == 9 || RTC_Mon == 11)
						{
							if (RTC_Dat == 31)
							{
								RTC_Dat = 30;
							}
						}
						//获取星期几
						GetWeekDay();
						break;
					case 3:
						if (RTC_Dat < 31) ++RTC_Dat;
						else RTC_Dat = 1;
						//考虑闰年的2月29日以及平年的2月28日的特殊情况
						if (RTC_Mon == 2)
						{
							if (CheckIfLeapYear(RTC_Year) && RTC_Dat == 30)
							{
								RTC_Dat = 1;
							}
							if (CheckIfLeapYear(RTC_Year) == 0 && RTC_Dat == 29)
							{
								RTC_Dat = 1;
							}
						}
						//考虑4、6、9、10月30日的特殊情况
						if (RTC_Mon == 4 || RTC_Mon == 6 || RTC_Mon == 9 || RTC_Mon == 10)
						{
							if (RTC_Dat == 31) RTC_Dat = 1;
						}
						//获取星期几
						GetWeekDay();
						break;
					case 4:
						//调整时
						if (RTC_Hour < 23) ++RTC_Hour;
						else RTC_Hour = 0;
						break;
					case 5:
						//调整分
						if (RTC_Min < 59) ++RTC_Min;
						else RTC_Min = 0;
						break;
					case 6:
						//调整秒
						if (RTC_Sec < 59) ++RTC_Sec;
						else RTC_Sec = 0;
						break;
				}
			}
			break;
		case DOWN:
			if(g_bset) //在调整时间模式下
			{
				switch(g_bset) //判断调整的是年月日时分秒中的哪一个
				{
					default:
						break;
					case 1:
						--RTC_Year;
						//考虑闰年2月29日特殊情况
						if (RTC_Mon == 2 && CheckIfLeapYear(RTC_Year+1) && RTC_Dat == 29)
							RTC_Dat = 28;
						//获取星期几
						GetWeekDay();
						break;
					case 2:
						if(RTC_Mon > 1) --RTC_Mon;
						else RTC_Mon = 12;
						//考虑3月29、30、31日的特殊情况
						if (RTC_Mon == 2 && (RTC_Dat == 31 || RTC_Dat == 30 || RTC_Dat == 29))
						{
							if (CheckIfLeapYear(RTC_Year)) RTC_Dat = 29;
							else RTC_Dat = 28;
						}
						//考虑5、7、10、12月31日的特殊情况
						if (RTC_Mon == 4 || RTC_Mon == 6 || RTC_Mon == 9 || RTC_Mon == 11)
						{
							if (RTC_Dat == 31)
							{
								RTC_Dat = 30;
							}
						}
						//获取星期几
						GetWeekDay();
						break;
					case 3:
						if(RTC_Dat > 1) --RTC_Dat;
						else RTC_Dat = 31;
						//考虑闰年的2月29日以及平年的2月28日的特殊情况
						if (RTC_Mon == 2)
						{
							if (CheckIfLeapYear(RTC_Year) && RTC_Dat == 31)
							{
								RTC_Dat = 29;
							}
							if (CheckIfLeapYear(RTC_Year) == 0 && RTC_Dat == 31)
							{
								RTC_Dat = 28;
							}
						}
						//考虑4、6、9、10月30日的特殊情况
						if (RTC_Mon == 4 || RTC_Mon == 6 || RTC_Mon == 9 || RTC_Mon == 10)
						{
							if (RTC_Dat == 31) RTC_Dat = 30;
						}
						//获取星期几
						GetWeekDay();
						break;
					case 4:
						if (RTC_Hour > 0) --RTC_Hour;
						else RTC_Hour = 23;
						break;
					case 5:
						if (RTC_Min > 0) --RTC_Min;
						else RTC_Min = 59;
						break;
					case 6:
						if (RTC_Sec > 0) --RTC_Sec;
						else RTC_Sec = 59;
						break;
				}
			}
			break;
		case LEFT:
				g_bset_old = g_bset;
				if (g_bset)
				{
					if (g_bset > 1) --g_bset;
					else g_bset = 7;
				}
			break;
		case RIGHT:
				g_bset_old = g_bset;
				if (g_bset)
				{
					if (g_bset < 7) ++g_bset;
					else  g_bset = 1;
				}
			break;
		case SWITCH:
				g_bset_old = g_bset;
				if (g_bset)
				{
					SetRTCTime(RTC_Hour, RTC_Min, RTC_Sec);
					SetRTCDate(RTC_Year, RTC_Mon, RTC_Dat);
				}
				else
				{
					old_year = RTC_Year;
					old_mon = RTC_Mon;
					old_day = RTC_Dat;
					old_hour = RTC_Hour;
					old_min = RTC_Min;
					old_sec = RTC_Sec;
				}
				g_bset_old = g_bset;
				//时钟正常走模式与调整模式的切换
				g_bset=!g_bset;
			break;
		case FUNC:
			if (g_bset)
			{
				SetRTCTime(old_hour, old_min, old_sec);
				SetRTCDate(old_year, old_mon, old_day);
				g_bset=!g_bset;
			}
			break;
	}
}
void KeyDownShow(uint8_t key)
{

}
void KeyDownData(uint8_t key)
{

}

/* USER CODE END Application */
